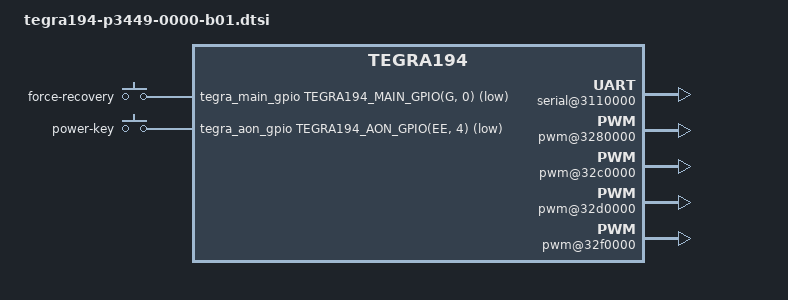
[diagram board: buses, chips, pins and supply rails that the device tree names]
/*
 * Copyright (c) 2019, NVIDIA CORPORATION.  All rights reserved.
 *
 * This program is free software; you can redistribute it and/or modify
 * it under the terms of the GNU General Public License as published by
 * the Free Software Foundation; version 2 of the License.
 *
 * This program is distributed in the hope that it will be useful, but WITHOUT
 * ANY WARRANTY; without even the implied warranty of MERCHANTABILITY or
 * FITNESS FOR A PARTICULAR PURPOSE.  See the GNU General Public License for
 * more details.
 */
#include <dt-bindings/gpio/tegra194-gpio.h>
#include "dt-bindings/input/input.h"
#include "tegra194-fixed-regulator-p3449-0000-b01.dtsi"
#include "tegra194-p3449-disp.dtsi"
#include "tegra194-p3668-p3449-pcie-plugin-manager.dtsi"

/ {
	gpio-keys {
		compatible = "gpio-keys";
		gpio-keys,name = "gpio-keys";

		forcerecovery {
			label = "force-recovery";
			gpios = <&tegra_main_gpio TEGRA194_MAIN_GPIO(G, 0) GPIO_ACTIVE_LOW>;
			linux,code = <BTN_1>;
		};

		power_key {
			label = "power-key";
			gpios = <&tegra_aon_gpio TEGRA194_AON_GPIO(EE, 4) GPIO_ACTIVE_LOW>;
			linux,code = <KEY_POWER>;
			gpio-key,wakeup;
		};
	};
	eeprom-manager {
		data-size = <0x100>;
		bus@0 {
			i2c-bus = <&gen1_i2c>;
			eeprom@1 {
				slave-address = <0x56>;
				label = "cvb";
			};
		};
	};
	/* move this node to p3449-power-tree.dtsi file if there is any such
	 * file exist
	 */
	pwm-fan {
		pwms = <&tegra_pwm6 0 45334>;
		vdd-fan-supply = <&p3449_vdd_fan>;
	};
	serial@3110000 {
		status = "okay";
	};
	tachometer@39c0000 {
		status = "okay";
	};
	pwm@3280000 {
		status = "okay";
	};

	pwm@32c0000 {
		status = "okay";
	};

	pwm@32d0000 {
		status = "okay";
	};

	pwm@32f0000 {
		status = "okay";
	};
	spi@c260000 {
		status = "disabled";
	};

	spi@3300000 {
		status = "disabled";
	};
};
